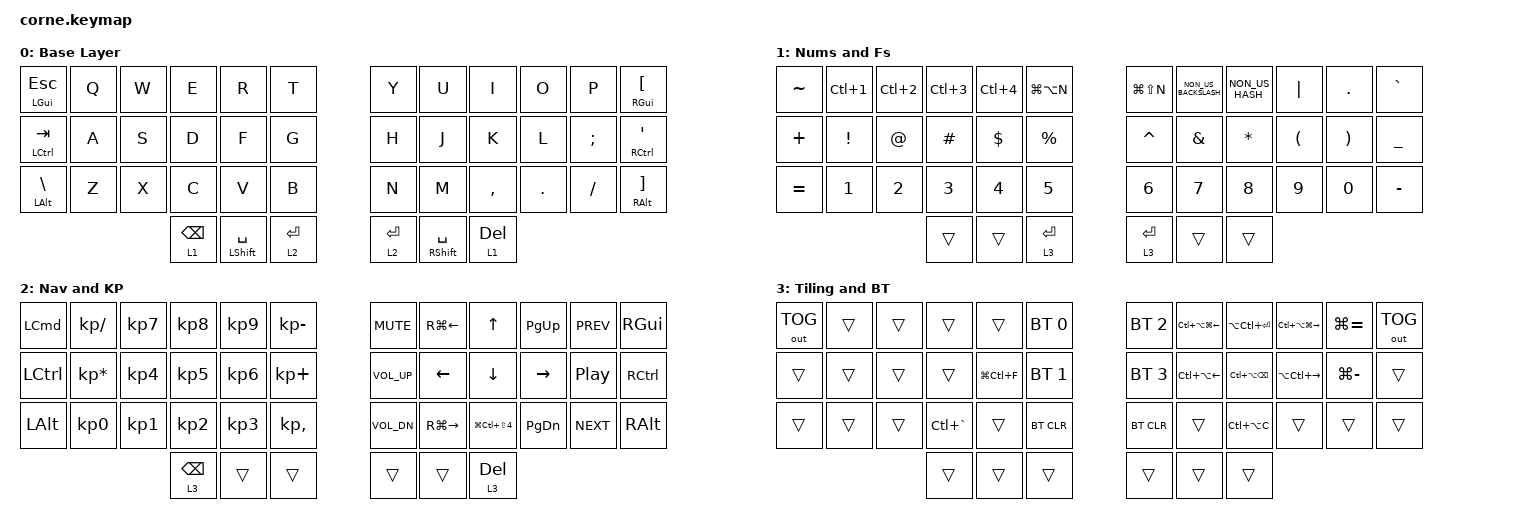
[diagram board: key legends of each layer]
/*
 * Copyright (c) 2020 The ZMK Contributors
 *
 * SPDX-License-Identifier: MIT
 */

#include <behaviors.dtsi>
#include <dt-bindings/zmk/keys.h>
#include <dt-bindings/zmk/outputs.h>
#include <dt-bindings/zmk/bt.h>

// dt-formatter: indent = "  "
// dt-formatter: reindentMultilineIntegerCells = "dedent"

/ {
  // behaviors {
  //   hm: homerow_mods {
  //     compatible = "zmk,behavior-hold-tap";
  //     label = "HOMEROW_MODS";
  //     #binding-cells = <2>;
  //     tapping-term-ms = <200>;
  //     quick-tap-ms = <0>;
  //     flavor = "tap-preferred";
  //     bindings =
  //       <&kp>,
  //       <&kp>;
  //   };
  // };

  combos {
    compatible = "zmk,combos";

    caps {
      bindings = <&kp CAPS>;
      key-positions = <12 13>;
    };

    del_word {
      bindings = <&kp LA(BACKSPACE)>;
      key-positions = <23 22>;
    };

    hyper {
      bindings = <&sk LS(LA(LC(LEFT_GUI)))>;
      key-positions = <12 24>;
    };

    meh {
      bindings = <&sk LC(LA(LEFT_SHIFT))>;
      key-positions = <23 35>;
    };
  };

  macros {
  };

  keymap {
    compatible = "zmk,keymap";

    base {
      label = " Base Layer";
      bindings = <
 &mt LEFT_GUI ESC  &kp Q  &kp W            &kp E            &kp R        &kp T          &kp Y                  &kp U      &kp I    &kp O     &kp P   &mt RIGHT_GUI LEFT_BRACKET
    &mt LCTRL TAB  &kp A  &kp S            &kp D            &kp F        &kp G          &kp H                  &kp J      &kp K    &kp L  &kp SEMI               &mt RCTRL APOS
&mt LEFT_ALT BSLH  &kp Z  &kp X            &kp C            &kp V        &kp B          &kp N                  &kp M  &kp COMMA  &kp DOT  &kp FSLH  &mt RIGHT_ALT RIGHT_BRACKET
                                 &lt 1 BACKSPACE  &mt LSHFT SPACE  &lt 2 ENTER    &lt 2 ENTER  &mt RIGHT_SHIFT SPACE  &lt 1 DEL
      >;
    };

    nums {
      label = " Nums and Fs";
      bindings = <
&kp TILDE  &kp LC(NUMBER_1)  &kp LC(NUMBER_2)  &kp LC(NUMBER_3)  &kp LC(NUMBER_4)  &kp LG(LA(N))    &kp LG(LS(N))  &kp NON_US_BACKSLASH  &kp NON_US_HASH              &kp PIPE                &kp DOT  &kp GRAVE
 &kp PLUS          &kp EXCL            &kp AT          &kp HASH        &kp DOLLAR    &kp PERCENT        &kp CARET         &kp AMPERSAND     &kp ASTERISK  &kp LEFT_PARENTHESIS  &kp RIGHT_PARENTHESIS  &kp UNDER
&kp EQUAL      &kp NUMBER_1            &kp N2            &kp N3            &kp N4         &kp N5           &kp N6                &kp N7           &kp N8                &kp N9                 &kp N0  &kp MINUS
                                                         &trans            &trans    &lt 3 ENTER      &lt 3 ENTER                &trans           &trans
      >;
    };

    navi {
      label = " Nav and KP";
      bindings = <
    &kp LCMD    &kp KP_DIVIDE  &kp KP_N7        &kp KP_N8  &kp KP_N9  &kp KP_MINUS      &kp K_MUTE   &kp RG(LEFT)              &kp UP  &kp PG_UP        &kp C_PREV  &kp RIGHT_GUI
   &kp LCTRL  &kp KP_MULTIPLY  &kp KP_N4        &kp KP_N5  &kp KP_N6   &kp KP_PLUS    &kp C_VOL_UP       &kp LEFT            &kp DOWN  &kp RIGHT  &kp C_PLAY_PAUSE      &kp RCTRL
&kp LEFT_ALT        &kp KP_N0  &kp KP_N1        &kp KP_N2  &kp KP_N3  &kp KP_COMMA    &kp C_VOL_DN  &kp RG(RIGHT)  &kp LG(LC(LS(N4)))  &kp PG_DN        &kp C_NEXT       &kp RALT
                                          &lt 3 BACKSPACE     &trans        &trans          &trans         &trans           &lt 3 DEL
      >;
    };

    tiling {
      label = " Tiling and BT";
      bindings = <
&out OUT_TOG  &trans  &trans         &trans         &trans  &bt BT_SEL 0    &bt BT_SEL 2  &kp LC(LA(LG(LEFT)))      &kp LA(LC(ENTER))  &kp LC(LA(LG(RIGHT)))  &kp LG(EQUAL)  &out OUT_TOG
      &trans  &trans  &trans         &trans  &kp LG(LC(F))  &bt BT_SEL 1    &bt BT_SEL 3      &kp LC(LA(LEFT))  &kp LC(LA(BACKSPACE))      &kp LA(LC(RIGHT))  &kp LG(MINUS)        &trans
      &trans  &trans  &trans  &kp LC(GRAVE)         &trans    &bt BT_CLR      &bt BT_CLR                &trans          &kp LC(LA(C))                 &trans         &trans        &trans
                                     &trans         &trans        &trans          &trans                &trans                 &trans
      >;
    };
  };
};
